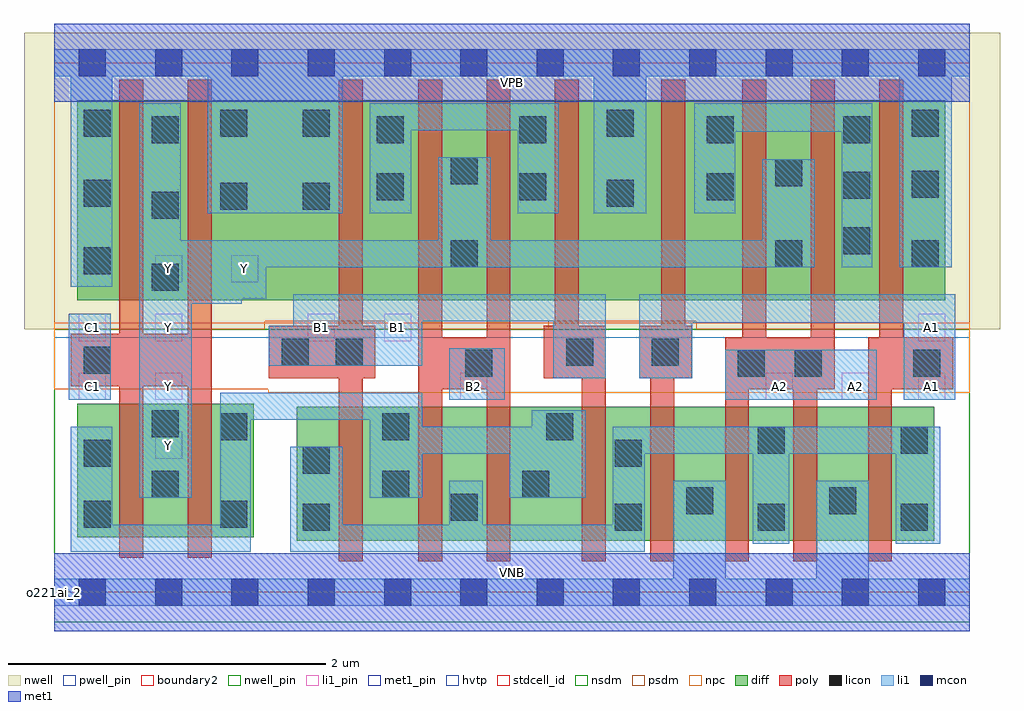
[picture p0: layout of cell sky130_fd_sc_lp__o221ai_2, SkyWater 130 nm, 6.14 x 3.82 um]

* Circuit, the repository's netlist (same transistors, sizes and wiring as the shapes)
* Copyright 2020 The SkyWater PDK Authors
*
* Licensed under the Apache License, Version 2.0 (the "License");
* you may not use this file except in compliance with the License.
* You may obtain a copy of the License at
*
*     https://www.apache.org/licenses/LICENSE-2.0
*
* Unless required by applicable law or agreed to in writing, software
* distributed under the License is distributed on an "AS IS" BASIS,
* WITHOUT WARRANTIES OR CONDITIONS OF ANY KIND, either express or implied.
* See the License for the specific language governing permissions and
* limitations under the License.
*
* SPDX-License-Identifier: Apache-2.0

.SUBCKT sky130_fd_sc_lp__o221ai_2 A1 A2 B1 B2 C1 VGND VNB VPB VPWR Y
*.PININFO A1:I A2:I B1:I B2:I C1:I VGND:I VNB:I VPB:I VPWR:I Y:O
MMPA0 VPWR A1 sndA1 VPB sky130_fd_pr__pfet_01v8_hvt m=2 w=1.26U l=0.15U mult=1
+ sa=0.265 sb=0.265 sd=0.28 area=0.063 perim=1.14
MMPA1 sndA1 A2 Y VPB sky130_fd_pr__pfet_01v8_hvt m=2 w=1.26U l=0.15U mult=1 sa=0.265
+ sb=0.265 sd=0.28 area=0.063 perim=1.14
MMPB0 VPWR B1 sndB1 VPB sky130_fd_pr__pfet_01v8_hvt m=2 w=1.26U l=0.15U mult=1
+ sa=0.265 sb=0.265 sd=0.28 area=0.063 perim=1.14
MMPB1 sndB1 B2 Y VPB sky130_fd_pr__pfet_01v8_hvt m=2 w=1.26U l=0.15U mult=1 sa=0.265
+ sb=0.265 sd=0.28 area=0.063 perim=1.14
MMPC0 VPWR C1 Y VPB sky130_fd_pr__pfet_01v8_hvt m=2 w=1.26U l=0.15U mult=1 sa=0.265
+ sb=0.265 sd=0.28 area=0.063 perim=1.14
MMNA0 pndA A1 VGND VNB sky130_fd_pr__nfet_01v8 m=2 w=0.84U l=0.15U mult=1 sa=0.265
+ sb=0.265 sd=0.28 area=0.063 perim=1.14
MMNA1 pndA A2 VGND VNB sky130_fd_pr__nfet_01v8 m=2 w=0.84U l=0.15U mult=1 sa=0.265
+ sb=0.265 sd=0.28 area=0.063 perim=1.14
MMNB0 pndB B1 pndA VNB sky130_fd_pr__nfet_01v8 m=2 w=0.84U l=0.15U mult=1 sa=0.265
+ sb=0.265 sd=0.28 area=0.063 perim=1.14
MMNB1 pndB B2 pndA VNB sky130_fd_pr__nfet_01v8 m=2 w=0.84U l=0.15U mult=1 sa=0.265
+ sb=0.265 sd=0.28 area=0.063 perim=1.14
MMNC0 Y C1 pndB VNB sky130_fd_pr__nfet_01v8 m=2 w=0.84U l=0.15U mult=1 sa=0.265
+ sb=0.265 sd=0.28 area=0.063 perim=1.14
.ENDS sky130_fd_sc_lp__o221ai_2

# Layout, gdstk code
import gdstk
lib = gdstk.Library(unit=1e-6, precision=1e-09)
def R(c, l, rs):  # rectangles x0, y0, x1, y1
    for r in rs: c.add(gdstk.rectangle(r[:2], r[2:], *l))
def A(c, l, x, y, w, h, nx, ny, dx, dy):  # array of equal rectangles
    R(c, l, [(x+i*dx, y+j*dy, x+i*dx+w, y+j*dy+h) for i in range(nx) for j in range(ny)])
def P(c, l, *ps):  # polygons
    for p in ps: c.add(gdstk.Polygon(p, *l))
nwell_pin = (64, 16)
nwell = (64, 20)
diff = (65, 20)
poly = (66, 20)
licon = (66, 44)
li1_pin = (67, 16)
li1 = (67, 20)
mcon = (67, 44)
met1_pin = (68, 16)
met1 = (68, 20)
hvtp = (78, 44)
stdcell_id = (81, 4)
nsdm = (93, 44)
psdm = (94, 20)
npc = (95, 20)
pwell_pin = (122, 16)
boundary2 = (236, 0)

sky130_fd_sc_lp__o221ai_ = lib.new_cell('sky130_fd_sc_lp__o221ai_2')
R(sky130_fd_sc_lp__o221ai_, nwell_pin, [(0,3.085,5.76,3.33)])
R(sky130_fd_sc_lp__o221ai_, nwell, [(-0.19,1.655,5.95,3.52)])
R(sky130_fd_sc_lp__o221ai_, diff, [(1.525,0.325,5.535,1.165), (0.145,0.345,1.255,1.185), (0.145,1.835,5.605,3.095)])
P(sky130_fd_sc_lp__o221ai_, poly, [(0.99,3.225),(0.84,3.225),(0.84,1.625),(0.56,1.625),(0.56,3.225),(0.41,3.225),(0.41,1.625),(0.105,1.625),(0.105,1.295),(0.41,1.295),(0.41,0.215),(0.56,0.215),(0.56,1.295),(0.84,1.295),(0.84,0.215),(0.99,0.215)],
  [(2.87,3.225),(2.72,3.225),(2.72,1.605),(2.44,1.605),(2.44,3.225),(2.29,3.225),(2.29,0.195),(2.44,0.195),(2.44,1.275),(2.72,1.275),(2.72,0.195),(2.87,0.195)],
  [(3.47,1.675),(3.3,1.675),(3.3,3.225),(3.15,3.225),(3.15,1.675),(3.08,1.675),(3.08,1.345),(3.32,1.345),(3.32,0.195),(3.47,0.195)],
  [(4.01,1.675),(3.97,1.675),(3.97,3.225),(3.82,3.225),(3.82,1.675),(3.68,1.675),(3.68,1.345),(3.75,1.345),(3.75,0.195),(3.9,0.195),(3.9,1.345),(4.01,1.345)],
  [(4.91,3.225),(4.76,3.225),(4.76,1.605),(4.48,1.605),(4.48,3.225),(4.33,3.225),(4.33,1.605),(4.22,1.605),(4.22,0.195),(4.37,0.195),(4.37,1.275),(4.65,1.275),(4.65,0.195),(4.8,0.195),(4.8,1.275),(4.91,1.275)],
  [(5.655,1.605),(5.34,1.605),(5.34,3.225),(5.19,3.225),(5.19,1.605),(5.12,1.605),(5.12,0.195),(5.27,0.195),(5.27,1.275),(5.655,1.275)],
  [(2.02,1.675),(1.94,1.675),(1.94,3.225),(1.79,3.225),(1.79,1.675),(1.35,1.675),(1.35,1.345),(1.79,1.345),(1.79,0.195),(1.94,0.195),(1.94,1.345),(2.02,1.345)])
A(sky130_fd_sc_lp__o221ai_, licon, 3.525, 0.385, 0.17, 0.17, 3, 1, 0.9, 0)
A(sky130_fd_sc_lp__o221ai_, licon, 4.965, 2.125, 0.17, 0.17, 1, 3, 0, 0.35)
R(sky130_fd_sc_lp__o221ai_, licon, [(1.565,0.385,1.735,0.555), (0.185,0.405,0.355,0.575), (1.045,0.405,1.215,0.575), (2.495,0.45,2.665,0.62), (3.975,0.49,4.145,0.66), (4.875,0.49,5.045,0.66), (0.615,0.595,0.785,0.765), (2.065,0.595,2.235,0.765), (2.945,0.595,3.115,0.765), (1.565,0.745,1.735,0.915), (0.185,0.79,0.355,0.96), (3.525,0.79,3.695,0.96), (4.425,0.87,4.595,1.04), (5.325,0.87,5.495,1.04), (1.045,0.955,1.215,1.125), (2.065,0.955,2.235,1.125), (3.095,0.955,3.265,1.125), (0.615,0.975,0.785,1.145), (2.585,1.355,2.755,1.525), (4.3,1.355,4.47,1.525), (4.66,1.355,4.83,1.525), (5.405,1.355,5.575,1.525), (0.185,1.375,0.355,1.545), (1.43,1.425,1.6,1.595), (1.77,1.425,1.94,1.595), (3.22,1.425,3.39,1.595), (3.76,1.425,3.93,1.595), (0.615,1.895,0.785,2.065), (0.185,2,0.355,2.17), (2.495,2.045,2.665,2.215), (4.535,2.045,4.705,2.215), (5.395,2.045,5.565,2.215), (0.615,2.35,0.785,2.52), (1.045,2.405,1.215,2.575), (1.565,2.405,1.735,2.575), (0.185,2.425,0.355,2.595), (3.475,2.425,3.645,2.595), (2.03,2.465,2.2,2.635), (2.925,2.465,3.095,2.635), (4.105,2.465,4.275,2.635), (5.395,2.48,5.565,2.65), (4.535,2.555,4.705,2.725), (2.495,2.565,2.665,2.735), (0.615,2.825,0.785,2.995), (2.03,2.825,2.2,2.995), (2.925,2.825,3.095,2.995), (4.105,2.825,4.275,2.995), (0.185,2.865,0.355,3.035), (1.045,2.865,1.215,3.035), (1.565,2.865,1.735,3.035), (3.475,2.865,3.645,3.035), (5.395,2.865,5.565,3.035)])
A(sky130_fd_sc_lp__o221ai_, li1_pin, 0.635, 1.21, 0.17, 0.17, 3, 1, 1.92, 0)
R(sky130_fd_sc_lp__o221ai_, li1_pin, [(0.635,0.84,0.805,1.01), (0.155,1.21,0.325,1.38), (4.955,1.21,5.125,1.38), (5.435,1.21,5.605,1.38), (0.155,1.58,0.325,1.75), (0.635,1.58,0.805,1.75), (1.595,1.58,1.765,1.75), (2.075,1.58,2.245,1.75), (5.435,1.58,5.605,1.75), (0.635,1.95,0.805,2.12), (1.115,1.95,1.285,2.12)])
R(sky130_fd_sc_lp__o221ai_, li1, [(0.09,1.21,0.355,1.75), (2.485,1.21,2.835,1.535), (4.22,1.21,5.175,1.525)])
P(sky130_fd_sc_lp__o221ai_, li1, [(5.315,2.045),(5.315,3.245),(3.725,3.245),(3.725,2.385),(3.395,2.385),(3.395,3.245),(1.815,3.245),(1.815,2.385),(0.965,2.385),(0.965,3.245),(0.365,3.245),(0.365,1.92),(0.105,1.92),(0.105,3.245),(0,3.245),(0,3.415),(5.76,3.415),(5.76,3.245),(5.645,3.245),(5.645,2.045)],
  [(3.895,0.085),(3.895,0.7),(4.225,0.7),(4.225,0.085),(4.795,0.085),(4.795,0.7),(5.125,0.7),(5.125,0.085),(5.76,0.085),(5.76,-0.085),(0,-0.085),(0,0.085)],
  [(4.785,2.725),(4.455,2.725),(4.455,2.215),(2.745,2.215),(2.745,2.735),(2.415,2.735),(2.415,2.215),(0.795,2.215),(0.795,3.075),(0.535,3.075),(0.535,0.595),(0.865,0.595),(0.865,1.815),(1.18,1.815),(1.18,1.845),(1.335,1.845),(1.335,2.045),(4.785,2.045)],
  [(3.47,1.875),(1.505,1.875),(1.505,1.675),(1.35,1.675),(1.35,1.425),(2.315,1.425),(2.315,1.705),(3.14,1.705),(3.14,1.345),(3.47,1.345)],
  [(4.955,2.895),(4.285,2.895),(4.285,2.385),(4.025,2.385),(4.025,3.075),(5.145,3.075),(5.145,2.045),(4.955,2.045)],
  [(2.915,2.905),(2.245,2.905),(2.245,2.385),(1.985,2.385),(1.985,3.075),(3.175,3.075),(3.175,2.385),(2.915,2.385)],
  [(5.295,0.87),(4.625,0.87),(4.625,0.305),(4.395,0.305),(4.395,0.87),(3.715,0.87),(3.715,0.255),(1.485,0.255),(1.485,0.915),(1.815,0.915),(1.815,0.425),(2.485,0.425),(2.485,0.7),(2.695,0.7),(2.695,0.425),(3.515,0.425),(3.515,1.04),(5.575,1.04),(5.575,0.305),(5.295,0.305)],
  [(2.315,1.04),(3.005,1.04),(3.005,1.145),(3.345,1.145),(3.345,0.595),(2.865,0.595),(2.865,0.87),(2.315,0.87),(2.315,0.595),(1.985,0.595),(1.985,1.085),(1.235,1.085),(1.235,0.255),(0.105,0.255),(0.105,1.04),(0.365,1.04),(0.365,0.425),(1.045,0.425),(1.045,1.255),(2.315,1.255)],
  [(3.68,1.345),(3.68,1.875),(5.67,1.875),(5.67,1.21),(5.345,1.21),(5.345,1.695),(4.015,1.695),(4.015,1.345)])
A(sky130_fd_sc_lp__o221ai_, mcon, 0.155, -0.085, 0.17, 0.17, 12, 2, 0.48, 3.33)
R(sky130_fd_sc_lp__o221ai_, met1_pin, [(0,0,5.76,0.245), (0,3.085,5.76,3.33)])
R(sky130_fd_sc_lp__o221ai_, met1, [(0,-0.245,5.76,0.245), (0,3.085,5.76,3.575)])
R(sky130_fd_sc_lp__o221ai_, hvtp, [(0,1.6,5.76,3.33)])
R(sky130_fd_sc_lp__o221ai_, stdcell_id, [(0,0,5.76,3.33)])
R(sky130_fd_sc_lp__o221ai_, nsdm, [(0,-0.19,5.76,1.655)])
P(sky130_fd_sc_lp__o221ai_, psdm, [(5.76,3.52),(0,3.52),(0,1.655),(1.325,1.655),(1.325,1.705),(2.08,1.705),(2.08,1.655),(3.11,1.655),(3.11,1.705),(4.04,1.705),(4.04,1.655),(5.76,1.655)])
P(sky130_fd_sc_lp__o221ai_, npc, [(5.76,1.695),(0,1.695),(0,1.275),(1.345,1.275),(1.345,1.255),(5.76,1.255)])
R(sky130_fd_sc_lp__o221ai_, pwell_pin, [(0,0,5.76,0.245)])
R(sky130_fd_sc_lp__o221ai_, boundary2, [(0,0,5.76,3.33)])
sky130_fd_sc_lp__o221ai_.add(gdstk.Label('VNB', (2.88,0.123), layer=64, texttype=59))
sky130_fd_sc_lp__o221ai_.add(gdstk.Label('VPB', (2.88,3.208), layer=64, texttype=5))
sky130_fd_sc_lp__o221ai_.add(gdstk.Label('o221ai_2', (0,0), layer=83, texttype=44))
sky130_fd_sc_lp__o221ai_.add(gdstk.Label('VPWR', (2.88,3.208), layer=68, texttype=5))
sky130_fd_sc_lp__o221ai_.add(gdstk.Label('VGND', (2.88,0.123), layer=68, texttype=5))
sky130_fd_sc_lp__o221ai_.add(gdstk.Label('A2', (4.56,1.295), layer=67, texttype=5))
sky130_fd_sc_lp__o221ai_.add(gdstk.Label('A2', (5.04,1.295), layer=67, texttype=5))
sky130_fd_sc_lp__o221ai_.add(gdstk.Label('B2', (2.64,1.295), layer=67, texttype=5))
sky130_fd_sc_lp__o221ai_.add(gdstk.Label('C1', (0.24,1.295), layer=67, texttype=5))
sky130_fd_sc_lp__o221ai_.add(gdstk.Label('C1', (0.24,1.665), layer=67, texttype=5))
sky130_fd_sc_lp__o221ai_.add(gdstk.Label('A1', (5.52,1.295), layer=67, texttype=5))
sky130_fd_sc_lp__o221ai_.add(gdstk.Label('A1', (5.52,1.665), layer=67, texttype=5))
sky130_fd_sc_lp__o221ai_.add(gdstk.Label('B1', (1.68,1.665), layer=67, texttype=5))
sky130_fd_sc_lp__o221ai_.add(gdstk.Label('B1', (2.16,1.665), layer=67, texttype=5))
sky130_fd_sc_lp__o221ai_.add(gdstk.Label('Y', (0.72,0.925), layer=67, texttype=5))
sky130_fd_sc_lp__o221ai_.add(gdstk.Label('Y', (0.72,1.295), layer=67, texttype=5))
sky130_fd_sc_lp__o221ai_.add(gdstk.Label('Y', (0.72,1.665), layer=67, texttype=5))
sky130_fd_sc_lp__o221ai_.add(gdstk.Label('Y', (1.2,2.035), layer=67, texttype=5))
sky130_fd_sc_lp__o221ai_.add(gdstk.Label('Y', (0.72,2.035), layer=67, texttype=5))

lib.write_gds('sky130_fd_sc_lp__o221ai_2.gds')
